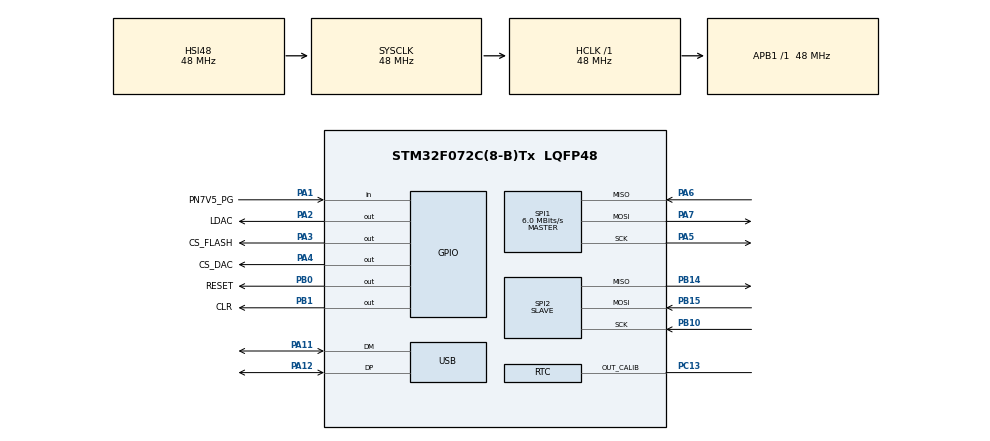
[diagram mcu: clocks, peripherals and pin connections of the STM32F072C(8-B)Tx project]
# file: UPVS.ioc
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Dma.Request0=SPI2_RX
Dma.Request1=SPI2_TX
Dma.Request2=SPI1_TX
Dma.Request3=SPI1_RX
Dma.SPI1_RX.3.Direction=DMA_PERIPH_TO_MEMORY
Dma.SPI1_RX.3.Instance=DMA1_Channel2
Dma.SPI1_RX.3.MemDataAlignment=DMA_MDATAALIGN_BYTE
Dma.SPI1_RX.3.MemInc=DMA_MINC_ENABLE
Dma.SPI1_RX.3.Mode=DMA_NORMAL
Dma.SPI1_RX.3.PeriphDataAlignment=DMA_PDATAALIGN_BYTE
Dma.SPI1_RX.3.PeriphInc=DMA_PINC_DISABLE
Dma.SPI1_RX.3.Priority=DMA_PRIORITY_LOW
Dma.SPI1_TX.2.Direction=DMA_MEMORY_TO_PERIPH
Dma.SPI1_TX.2.Instance=DMA1_Channel3
Dma.SPI1_TX.2.MemDataAlignment=DMA_MDATAALIGN_BYTE
Dma.SPI1_TX.2.MemInc=DMA_MINC_ENABLE
Dma.SPI1_TX.2.Mode=DMA_NORMAL
Dma.SPI1_TX.2.PeriphDataAlignment=DMA_PDATAALIGN_BYTE
Dma.SPI1_TX.2.PeriphInc=DMA_PINC_DISABLE
Dma.SPI1_TX.2.Priority=DMA_PRIORITY_LOW
Dma.SPI2_RX.0.Direction=DMA_PERIPH_TO_MEMORY
Dma.SPI2_RX.0.Instance=DMA1_Channel4
Dma.SPI2_RX.0.MemDataAlignment=DMA_MDATAALIGN_BYTE
Dma.SPI2_RX.0.MemInc=DMA_MINC_ENABLE
Dma.SPI2_RX.0.Mode=DMA_NORMAL
Dma.SPI2_RX.0.PeriphDataAlignment=DMA_PDATAALIGN_BYTE
Dma.SPI2_RX.0.PeriphInc=DMA_PINC_DISABLE
Dma.SPI2_RX.0.Priority=DMA_PRIORITY_LOW
Dma.SPI2_TX.1.Direction=DMA_MEMORY_TO_PERIPH
Dma.SPI2_TX.1.Instance=DMA1_Channel5
Dma.SPI2_TX.1.MemDataAlignment=DMA_MDATAALIGN_BYTE
Dma.SPI2_TX.1.MemInc=DMA_MINC_ENABLE
Dma.SPI2_TX.1.Mode=DMA_NORMAL
Dma.SPI2_TX.1.PeriphDataAlignment=DMA_PDATAALIGN_BYTE
Dma.SPI2_TX.1.PeriphInc=DMA_PINC_DISABLE
Dma.SPI2_TX.1.Priority=DMA_PRIORITY_LOW
Mcu.Family=STM32F0
Mcu.Name=STM32F072C(8-B)Tx
Mcu.Package=LQFP48
NVIC.DMA1_Channel2_3_IRQn=true\:0\:0\:false\:false\:true\:false\:true\:true
NVIC.DMA1_Channel4_5_6_7_IRQn=true\:0\:0\:false\:false\:true\:false\:true\:true
NVIC.USB_IRQn=true\:0\:0\:false\:false\:true\:false\:true\:true
PA1.GPIO_Label=PN7V5_PG
PA1.Signal=GPIO_Input
PA11.Mode=Device
PA11.Signal=USB_DM
PA12.Mode=Device
PA12.Signal=USB_DP
PA13.Mode=Serial_Wire
PA13.Signal=SYS_SWDIO
PA14.Mode=Serial_Wire
PA14.Signal=SYS_SWCLK
PA2.GPIO_Label=LDAC
PA2.Signal=GPIO_Output
PA3.GPIO_Label=CS_FLASH
PA3.Signal=GPIO_Output
PA4.GPIO_Label=CS_DAC
PA4.Signal=GPIO_Output
PA5.Mode=Full_Duplex_Master
PA5.Signal=SPI1_SCK
PA6.Mode=Full_Duplex_Master
PA6.Signal=SPI1_MISO
PA7.Mode=Full_Duplex_Master
PA7.Signal=SPI1_MOSI
PB0.GPIO_Label=RESET
PB0.Signal=GPIO_Output
PB1.GPIO_Label=CLR
PB1.Signal=GPIO_Output
PB10.Mode=Full_Duplex_Slave
PB10.Signal=SPI2_SCK
PB14.Mode=Full_Duplex_Slave
PB14.Signal=SPI2_MISO
PB15.Mode=Full_Duplex_Slave
PB15.Signal=SPI2_MOSI
PC13.Mode=Calibration_1Hz
PC13.Signal=RTC_OUT_CALIB
ProjectManager.HeapSize=0x200
ProjectManager.StackSize=0x400
ProjectManager.TargetToolchain=MDK-ARM V5.32
RCC.AHBFreq_Value=48000000
RCC.APB1Freq_Value=48000000
RCC.APB1TimFreq_Value=48000000
RCC.HCLKFreq_Value=48000000
RCC.SYSCLKFreq_VALUE=48000000
RCC.SYSCLKSource=RCC_SYSCLKSOURCE_HSI48
SPI1.BaudRatePrescaler=SPI_BAUDRATEPRESCALER_8
SPI1.CalculateBaudRate=6.0 MBits/s
SPI1.DataSize=SPI_DATASIZE_8BIT
SPI1.Direction=SPI_DIRECTION_2LINES
SPI1.Mode=SPI_MODE_MASTER
SPI1.VirtualType=VM_MASTER
SPI2.DataSize=SPI_DATASIZE_8BIT
SPI2.Direction=SPI_DIRECTION_2LINES
SPI2.Mode=SPI_MODE_SLAVE
SPI2.VirtualType=VM_SLAVE
USB_DEVICE.CLASS_NAME_FS=CDC
USB_DEVICE.VirtualMode=Cdc
USB_DEVICE.VirtualModeFS=Cdc_FS
VP_RTC_VS_RTC_Activate.Mode=RTC_Enabled
VP_RTC_VS_RTC_Calendar.Mode=RTC_Calendar
VP_USB_DEVICE_VS_USB_DEVICE_CDC_FS.Mode=CDC_FS
board=custom

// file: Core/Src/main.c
/* USER CODE BEGIN Header */
/**
  ******************************************************************************
  * @file           : main.c
  * @brief          : Main program body
  ******************************************************************************
  * @attention
  *
  * Copyright (c) 2023 STMicroelectronics.
  * All rights reserved.
  *
  * This software is licensed under terms that can be found in the LICENSE file
  * in the root directory of this software component.
  * If no LICENSE file comes with this software, it is provided AS-IS.
  *
  ******************************************************************************
  */
/* USER CODE END Header */
#include "main.h"
#include "dma.h"
#include "rtc.h"
#include "spi.h"
#include "usb_device.h"
#include "gpio.h"

void SystemClock_Config(void);

int main(void)
{

  /* MCU Configuration--------------------------------------------------------*/

  /* Reset of all peripherals, Initializes the Flash interface and the Systick. */
  HAL_Init();

  /* Configure the system clock */
  SystemClock_Config();

  /* Initialize all configured peripherals */
  MX_GPIO_Init();
  MX_DMA_Init();
  MX_SPI1_Init();
  MX_SPI2_Init();
  MX_USB_DEVICE_Init();
  MX_RTC_Init();
  /* USER CODE BEGIN 2 */
	uint8_t command = 0x9f;
  uint8_t JEDEC[4];
	uint8_t ID;
	uint8_t n;
	HAL_DMA_StateTypeDef spi_dma_sata;

	HAL_GPIO_WritePin(GPIOA, LDAC_Pin|CS_FLASH_Pin|CS_DAC_Pin, GPIO_PIN_SET);
	HAL_GPIO_WritePin(GPIOA, CS_FLASH_Pin, GPIO_PIN_RESET);
	HAL_SPI_Transmit_DMA(&hspi1,&command,1);
//	HAL_SPI_Transmit_DMA(&hspi1,&command,1);
//	HAL_SPI_Transmit_DMA(&hspi1,&command,1);
//	HAL_SPI_Transmit_DMA(&hspi1,&command,1);
//	for(n=0;n<4;n++)

	spi_dma_sata = HAL_DMA_GetState(hspi1.hdmarx);

	HAL_SPI_Receive_DMA(&hspi1,JEDEC,4);

	spi_dma_sata = HAL_DMA_GetState(hspi1.hdmarx);

	HAL_GPIO_WritePin(GPIOA, CS_FLASH_Pin, GPIO_PIN_SET);
	command = 0xAB;
	HAL_GPIO_WritePin(GPIOA, CS_FLASH_Pin, GPIO_PIN_RESET);
	HAL_SPI_Transmit_DMA(&hspi1,&command,1);
	HAL_SPI_Transmit_DMA(&hspi1,&command,1);
	HAL_SPI_Transmit_DMA(&hspi1,&command,1);
	HAL_SPI_Transmit_DMA(&hspi1,&command,1);
//	for(n=0;n<4;n++)
	HAL_SPI_Receive_DMA(&hspi1,&ID,1);

	HAL_GPIO_WritePin(GPIOA, CS_FLASH_Pin, GPIO_PIN_SET);

  /* USER CODE END 2 */

  /* Infinite loop */
  while (1)
  {

  }
}

void SystemClock_Config(void)
{
  RCC_OscInitTypeDef RCC_OscInitStruct = {0};
  RCC_ClkInitTypeDef RCC_ClkInitStruct = {0};
  RCC_PeriphCLKInitTypeDef PeriphClkInit = {0};

  /** Initializes the RCC Oscillators according to the specified parameters
  * in the RCC_OscInitTypeDef structure.
  */
  RCC_OscInitStruct.OscillatorType = RCC_OSCILLATORTYPE_HSI48|RCC_OSCILLATORTYPE_LSI;
  RCC_OscInitStruct.HSI48State = RCC_HSI48_ON;
  RCC_OscInitStruct.LSIState = RCC_LSI_ON;
  RCC_OscInitStruct.PLL.PLLState = RCC_PLL_NONE;
  if (HAL_RCC_OscConfig(&RCC_OscInitStruct) != HAL_OK)
  {
    Error_Handler();
  }

  /** Initializes the CPU, AHB and APB buses clocks
  */
  RCC_ClkInitStruct.ClockType = RCC_CLOCKTYPE_HCLK|RCC_CLOCKTYPE_SYSCLK
                              |RCC_CLOCKTYPE_PCLK1;
  RCC_ClkInitStruct.SYSCLKSource = RCC_SYSCLKSOURCE_HSI48;
  RCC_ClkInitStruct.AHBCLKDivider = RCC_SYSCLK_DIV1;
  RCC_ClkInitStruct.APB1CLKDivider = RCC_HCLK_DIV1;

  if (HAL_RCC_ClockConfig(&RCC_ClkInitStruct, FLASH_LATENCY_1) != HAL_OK)
  {
    Error_Handler();
  }
  PeriphClkInit.PeriphClockSelection = RCC_PERIPHCLK_USB|RCC_PERIPHCLK_RTC;
  PeriphClkInit.RTCClockSelection = RCC_RTCCLKSOURCE_LSI;
  PeriphClkInit.UsbClockSelection = RCC_USBCLKSOURCE_HSI48;

  if (HAL_RCCEx_PeriphCLKConfig(&PeriphClkInit) != HAL_OK)
  {
    Error_Handler();
  }
}

void Error_Handler(void)
{
  __disable_irq();
  while (1)
  {
  }
}
